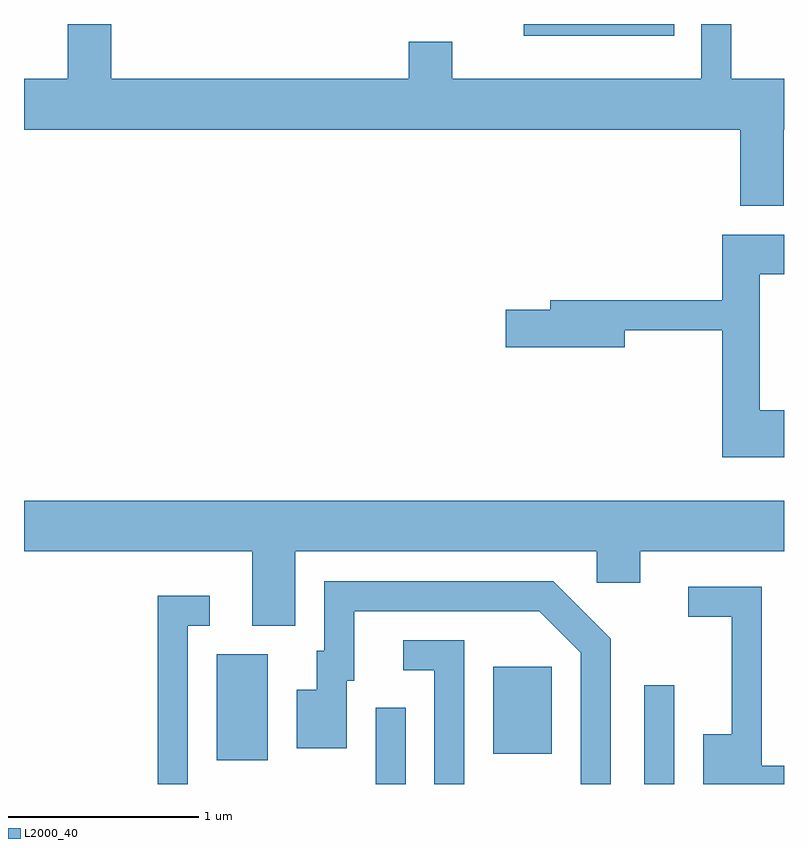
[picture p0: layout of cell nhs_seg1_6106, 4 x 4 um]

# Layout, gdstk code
import gdstk
lib = gdstk.Library(unit=1e-6, precision=1e-09)
def R(c, l, rs):  # rectangles x0, y0, x1, y1
    for r in rs: c.add(gdstk.rectangle(r[:2], r[2:], *l))
def P(c, l, *ps):  # polygons
    for p in ps: c.add(gdstk.Polygon(p, *l))
L2000_40 = (2000, 40)

nhs_seg1_6106 = lib.new_cell('nhs_seg1_6106')
R(nhs_seg1_6106, L2000_40, [(371.461,871.712,371.619,872.113), (372.876,871.712,373.034,872.233), (370.626,871.836,370.894,872.394), (372.081,871.871,372.389,872.329), (372.241,875.651,373.033,875.712)])
P(nhs_seg1_6106, L2000_40, [(373.609,875.156),(373.611,875.156),(373.611,875.424),(373.334,875.424),(373.334,875.712),(373.176,875.712),(373.176,875.424),(371.864,875.424),(371.864,875.619),(371.636,875.619),(371.636,875.424),(370.069,875.424),(370.069,875.712),(369.841,875.712),(369.841,875.424),(369.611,875.424),(369.611,875.156),(373.381,875.156),(373.381,874.756),(373.609,874.756)],
  [(373.611,873.679),(373.484,873.679),(373.484,874.396),(373.611,874.396),(373.611,874.604),(373.286,874.604),(373.286,874.259),(372.381,874.259),(372.381,874.209),(372.146,874.209),(372.146,874.011),(372.774,874.011),(372.774,874.101),(373.286,874.101),(373.286,873.431),(373.611,873.431)],
  [(371.039,872.936),(372.626,872.936),(372.626,872.771),(372.854,872.771),(372.854,872.936),(373.611,872.936),(373.611,873.204),(369.611,873.204),(369.611,872.936),(370.811,872.936),(370.811,872.546),(371.039,872.546)],
  [(372.699,872.477),(372.397,872.779),(371.191,872.779),(371.191,872.414),(371.151,872.414),(371.151,872.209),(371.046,872.209),(371.046,871.901),(371.309,871.901),(371.309,872.256),(371.349,872.256),(371.349,872.621),(372.324,872.621),(372.541,872.404),(372.541,871.712),(372.699,871.712)],
  [(373.611,871.809),(373.494,871.809),(373.494,872.749),(373.108,872.749),(373.108,872.591),(373.336,872.591),(373.336,871.974),(373.186,871.974),(373.186,871.712),(373.611,871.712)],
  [(370.474,872.546),(370.588,872.546),(370.588,872.704),(370.316,872.704),(370.316,871.712),(370.474,871.712)],
  [(371.929,872.469),(371.608,872.469),(371.608,872.311),(371.771,872.311),(371.771,871.712),(371.929,871.712)])

lib.write_gds('nhs_seg1_6106.gds')
